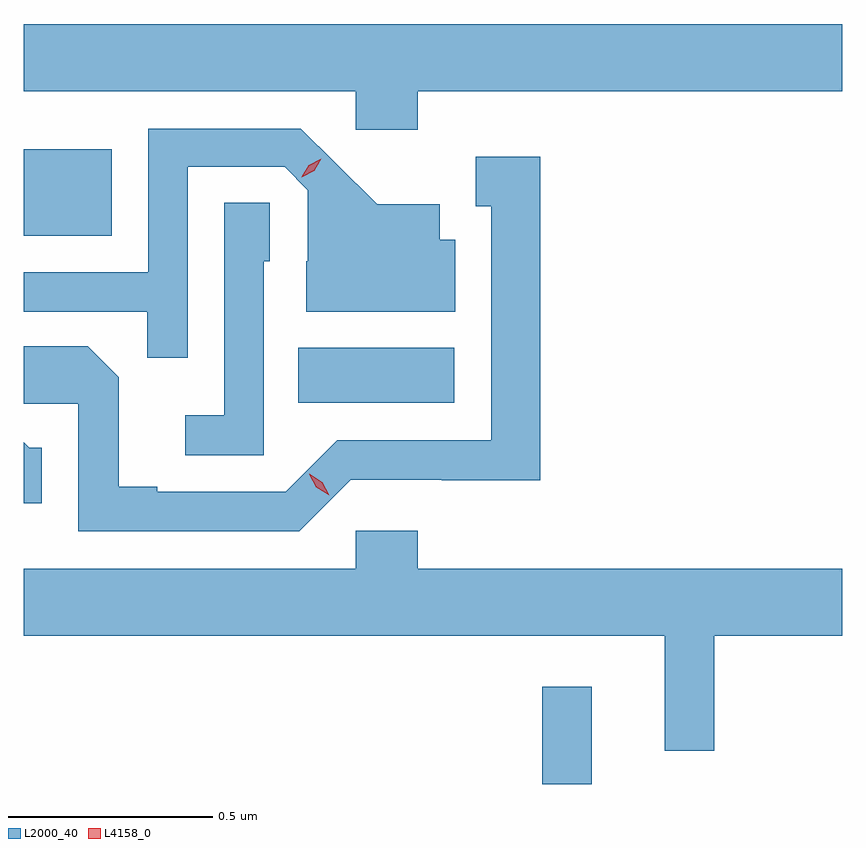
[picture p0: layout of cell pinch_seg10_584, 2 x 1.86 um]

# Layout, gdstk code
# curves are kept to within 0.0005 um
import gdstk
lib = gdstk.Library(unit=1e-6, precision=1e-09)
def R(c, l, rs):  # rectangles x0, y0, x1, y1
    for r in rs: c.add(gdstk.rectangle(r[:2], r[2:], *l))
def P(c, l, *ps):  # polygons
    for p in ps: c.add(gdstk.Polygon(p, *l))
L2000_40 = (2000, 40)
L4158_0 = (4158, 0)

pinch_seg10_584 = lib.new_cell('pinch_seg10_584')
R(pinch_seg10_584, L2000_40, [(306.462,1261.326,306.583,1261.564), (305.866,1262.258,306.247,1262.392), (305.195,1262.666,305.41,1262.878)])
P(pinch_seg10_584, L2000_40, [(306.158,1263.02),(307.195,1263.02),(307.195,1263.184),(305.195,1263.184),(305.195,1263.02),(306.006,1263.02),(306.006,1262.925),(306.158,1262.925)],
  [(305.595,1262.835),(305.832,1262.835),(305.889,1262.778),(305.889,1262.604),(305.885,1262.604),(305.885,1262.48),(306.25,1262.48),(306.25,1262.656),(306.211,1262.656),(306.211,1262.743),(306.059,1262.743),(305.872,1262.928),(305.499,1262.928),(305.499,1262.577),(305.195,1262.577),(305.195,1262.481),(305.497,1262.481),(305.497,1262.368),(305.595,1262.368)],
  [(305.994,1262.07),(306.216,1262.07),(306.216,1262.069),(306.457,1262.069),(306.457,1262.86),(306.299,1262.86),(306.299,1262.739),(306.338,1262.739),(306.338,1262.166),(305.961,1262.166),(305.835,1262.04),(305.521,1262.04),(305.521,1262.053),(305.427,1262.053),(305.427,1262.32),(305.351,1262.396),(305.195,1262.396),(305.195,1262.256),(305.328,1262.256),(305.328,1261.944),(305.868,1261.944)],
  [(305.781,1262.604),(305.796,1262.604),(305.796,1262.747),(305.685,1262.747),(305.685,1262.227),(305.589,1262.227),(305.589,1262.13),(305.781,1262.13)],
  [(305.239,1262.148),(305.208,1262.148),(305.195,1262.161),(305.195,1262.012),(305.239,1262.012)],
  [(306.883,1261.688),(307.195,1261.688),(307.195,1261.852),(306.158,1261.852),(306.158,1261.945),(306.006,1261.945),(306.006,1261.852),(305.195,1261.852),(305.195,1261.688),(306.761,1261.688),(306.761,1261.407),(306.883,1261.407)])
P(pinch_seg10_584, L4158_0, [(305.874,1262.809),(305.874,1262.81),(305.891,1262.839),(305.922,1262.855),(305.922,1262.855),(305.922,1262.854),(305.905,1262.825),(305.874,1262.809)],
  [(305.941,1262.032),(305.91,1262.051),(305.892,1262.083),(305.892,1262.084),(305.893,1262.084),(305.924,1262.064),(305.941,1262.032),(305.941,1262.032)])

lib.write_gds('pinch_seg10_584.gds')
